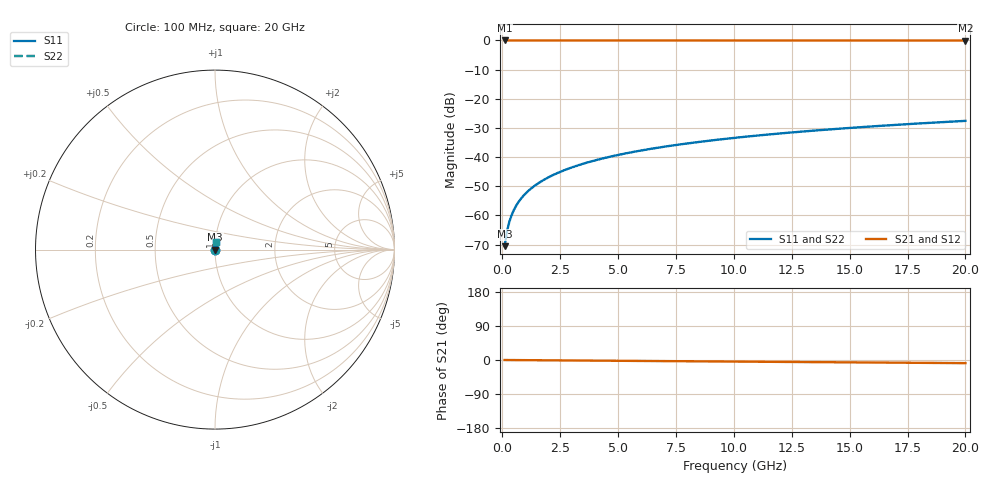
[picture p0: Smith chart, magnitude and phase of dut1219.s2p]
! Touchstone file exported from HFSS 2026.1.0
!  File:  C:/ffzhzh/LocalFiles/Ansys_Project_Files/temp_train_TSV_1219_1783193020_18472.aedt
!  Generated:  03:25:12 AM Jul  5, 2026
!  Design:  TSV
!  Project:  temp_train_TSV_1219_1783193020_18472
! Variables:
!  h_bsmrdl = 2um
!  h_ox = 20um
!  h_rdl = 5um
!  h_sub = 76.26um
!  h_tmrdl = 5um
!  h_tsv = 76.26um
!  h_via = 3um
!  l_bsmrdl = 300um
!  l_sub = 416.78um
!  l_tmrdl = 200um
!  m_sub = 200um
!  pitch = 49.12um
!  r_tsv = 8.39um
!  s_tmrdl = 10um
!  w_bsmrdl = 18um
!  w_sub = 500um
!  w_tmrdl = 12um
!  x_tsv_center1 = 206um
!  x_tsv_center2 = 524um
!  x_tsv_center3 = 736um
!  x_tsv_center4 = 1054um
!  x_tsv_center5 = 1266um
!  x_tsv_center6 = 1584um
# GHz S MA R 50.000000
! Terminal data exported
! Port[1] = TSV1_1_T1
! Port[2] = TSV1_1_T2
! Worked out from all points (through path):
!   200 points, 100 MHz to 20 GHz, reference 50 ohm
!   highest |S21| = 0.00 dB at 100 MHz (marker M1); lowest = 0.0 dB at 20 GHz (marker M2)
!   group delay of S21, straight-line fit = 1.15 ps
!   lowest |S11| = -70.6 dB at 100 MHz (marker M3), VSWR 1.00, Z = 50 + j0.025 ohm
!   |S11| at or under -10 dB: start of sweep to end of sweep
!   |S22| runs from -70.6 to -27.6 dB; largest |S21 - S12| = 5.3e-15
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0.1  0.0002961 57.6  0.9998 -0.0  0.9998 -0.0  0.0002961 57.6
! Gamma 0 0 0 0
! Port Impedance 50 0 50 0
0.2  0.0005258 71.2  0.9998 -0.1  0.9998 -0.1  0.0005258 71.2
0.3  0.0007647 76.0  0.9998 -0.1  0.9998 -0.1  0.0007647 76.0
0.4  0.001003 78.2  0.9998 -0.2  0.9998 -0.2  0.001003 78.2
0.5  0.001237 79.4  0.9998 -0.2  0.9998 -0.2  0.001237 79.4
0.6  0.001468 80.1  0.9998 -0.3  0.9998 -0.3  0.001468 80.1
0.7  0.001695 80.7  0.9997 -0.3  0.9997 -0.3  0.001695 80.7
0.8  0.001918 81.1  0.9997 -0.3  0.9997 -0.3  0.001918 81.1
1  0.002358 81.7  0.9997 -0.4  0.9997 -0.4  0.002358 81.7
1.4  0.003222 82.6  0.9996 -0.6  0.9996 -0.6  0.003222 82.6
1.7  0.003865 83.1  0.9996 -0.7  0.9996 -0.7  0.003865 83.1
2  0.004506 83.5  0.9995 -0.8  0.9995 -0.8  0.004506 83.5
2.7  0.005999 84.0  0.9995 -1.1  0.9995 -1.1  0.005999 84.0
3.5  0.007701 84.3  0.9994 -1.5  0.9994 -1.5  0.007701 84.3
4.2  0.009184 84.4  0.9993 -1.8  0.9993 -1.8  0.009184 84.4
5  0.01087 84.3  0.9993 -2.1  0.9993 -2.1  0.01087 84.3
6.8  0.01464 84.0  0.9991 -2.8  0.9991 -2.8  0.01464 84.0
8.3  0.01776 83.7  0.999 -3.5  0.999 -3.5  0.01776 83.7
10.1  0.02149 83.2  0.9988 -4.2  0.9988 -4.2  0.02149 83.2
13.4  0.0283 82.2  0.9985 -5.6  0.9985 -5.6  0.0283 82.2
16.7  0.03506 81.1  0.9981 -6.9  0.9981 -6.9  0.03506 81.1
20  0.04176 79.8  0.9978 -8.3  0.9978 -8.3  0.04176 79.8
